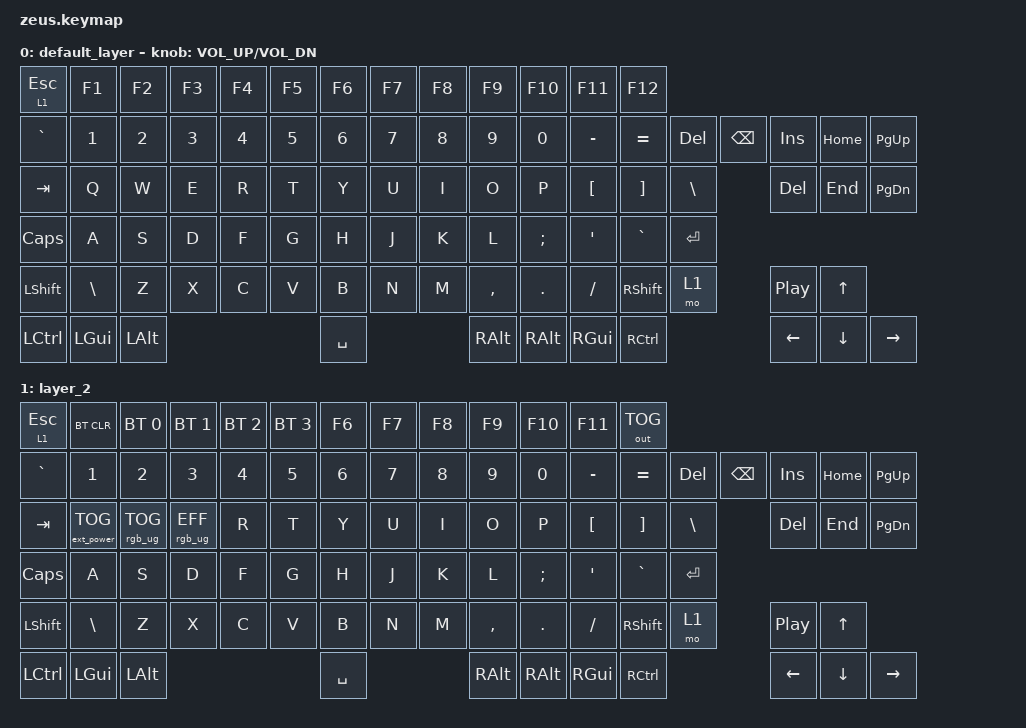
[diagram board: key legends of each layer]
/*
 * Copyright (c) 2020 The ZMK Contributors
 *
 * SPDX-License-Identifier: MIT
 */

#include <behaviors.dtsi>
#include <dt-bindings/zmk/keys.h>
#include <dt-bindings/zmk/bt.h>
#include <dt-bindings/zmk/outputs.h>
#include <dt-bindings/zmk/ext_power.h>
#include <dt-bindings/zmk/rgb.h>

/ {
	keymap {
		compatible = "zmk,keymap";
		default_layer {
			bindings = <
			      &lt 1 ESC  &kp F1    &kp F2    &kp F3  &kp F4  &kp F5  &kp F6     &kp F7  &kp F8  &kp F9     &kp F10   &kp F11      &kp F12
			      &kp GRAVE  &kp N1    &kp N2    &kp N3  &kp N4  &kp N5  &kp N6     &kp N7  &kp N8  &kp N9     &kp N0    &kp MINUS    &kp EQUAL  &kp DEL  &kp BSPC  &kp INSERT        &kp HOME  &kp PG_UP
			      &kp TAB    &kp Q     &kp W     &kp E   &kp R   &kp T   &kp Y      &kp U   &kp I   &kp O      &kp P     &kp LBKT     &kp RBKT   &kp BSLH           &kp DEL           &kp END   &kp PG_DN
			      &kp CLCK   &kp A     &kp S     &kp D   &kp F   &kp G   &kp H      &kp J   &kp K   &kp L      &kp SEMI  &kp SQT      &kp GRAVE  &kp RET
			      &kp LSHFT  &kp BSLH  &kp Z     &kp X   &kp C   &kp V   &kp B      &kp N   &kp M   &kp COMMA  &kp DOT   &kp FSLH     &kp RSHFT  &mo 1              &kp C_PLAY_PAUSE  &kp UP
			      &kp LCTRL  &kp LGUI  &kp LALT                          &kp SPACE                  &kp RALT   &kp RALT  &kp RGUI     &kp RCTRL                     &kp LEFT          &kp DOWN  &kp RIGHT
			>;

			sensor-bindings = <&inc_dec_kp C_VOL_UP C_VOL_DN>;
		};
		layer_2 {
			bindings = <
			      &lt 1 ESC   &bt BT_CLR         &bt BT_SEL 0     &bt BT_SEL 1     &bt BT_SEL 2  &bt BT_SEL 3  &kp F6       &kp F7  &kp F8  &kp F9     &kp F10   &kp F11      &out OUT_TOG
			      &kp GRAVE   &kp N1             &kp N2           &kp N3           &kp N4        &kp N5        &kp N6       &kp N7  &kp N8  &kp N9     &kp N0    &kp MINUS    &kp EQUAL     &kp DEL   &kp BSPC  &kp INSERT        &kp HOME  &kp PG_UP
			      &kp TAB     &ext_power EP_TOG  &rgb_ug RGB_TOG  &rgb_ug RGB_EFF  &kp R         &kp T         &kp Y        &kp U   &kp I   &kp O      &kp P     &kp LBKT     &kp RBKT      &kp BSLH            &kp DEL           &kp END   &kp PG_DN
			      &kp CLCK    &kp A              &kp S            &kp D            &kp F         &kp G         &kp H        &kp J   &kp K   &kp L      &kp SEMI  &kp SQT      &kp GRAVE     &kp RET
			      &kp LSHFT   &kp BSLH           &kp Z            &kp X            &kp C         &kp V         &kp B        &kp N   &kp M   &kp COMMA  &kp DOT   &kp FSLH     &kp RSHFT     &mo 1               &kp C_PLAY_PAUSE  &kp UP
			      &kp LCTRL   &kp LGUI           &kp LALT                                                      &kp SPACE                    &kp RALT   &kp RALT  &kp RGUI     &kp RCTRL                         &kp LEFT          &kp DOWN  &kp RIGHT
			>;
		};
	};

	sensors {
		compatible = "zmk,keymap-sensors";
		sensors = <&left_encoder>;
		};

};

&left_encoder {
    status = "okay";
};
